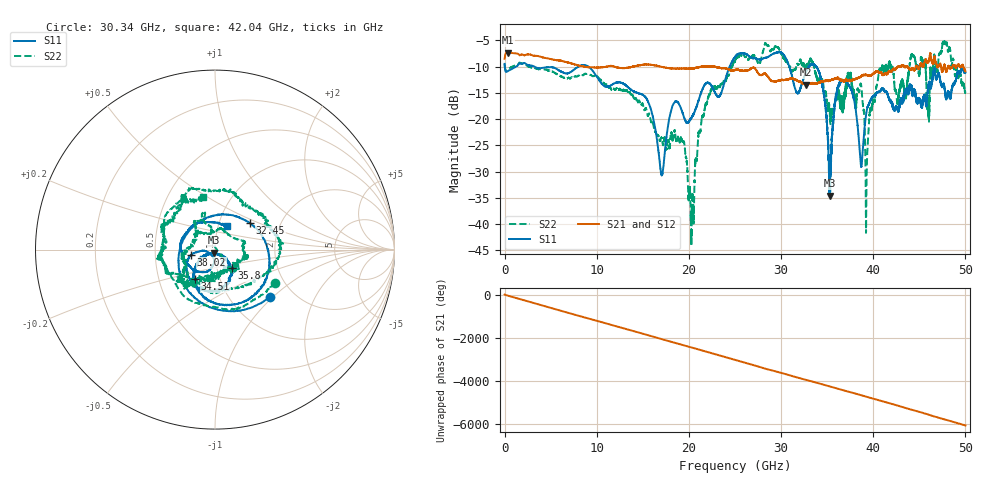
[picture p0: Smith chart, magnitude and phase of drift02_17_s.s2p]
!Created with skrf (http://scikit-rf.org).
# Hz S RI R 50.0
!freq ReS11 ImS11 ReS21 ImS21 ReS12 ImS12 ReS22 ImS22
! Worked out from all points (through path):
!   10001 points, 300 kHz to 50 GHz, reference 50 ohm
!   highest |S21| = -7.32 dB at 320.3 MHz (marker M1); lowest = -13.4 dB at 32.73 GHz (marker M2)
!   group delay of S21, straight-line fit = 335 ps
!   lowest |S11| = -34.6 dB at 35.26 GHz (marker M3), VSWR 1.04, Z = 49.2 - j1.66 ohm
!   |S11| at or under -10 dB: 3.236 GHz to 8.009 GHz (4.772 GHz wide, 84.9 % of centre); 9.105 GHz to 24.42 GHz (15.31 GHz wide, 91.3 % of centre); 33.83 GHz to end of sweep (the widest 3 of 8)
!   |S22| runs from -44.2 to -5.0 dB; largest |S21 - S12| = 0.015
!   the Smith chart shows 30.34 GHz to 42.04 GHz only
!   S11 on the Smith chart (normalised r, x): 30.34 GHz: 1.53, -0.95; 32.45 GHz: 1.41, +0.44; 34.51 GHz: 0.76, -0.26; 35.8 GHz: 1.18, -0.25; 38.02 GHz: 0.76, -0.05; 42.04 GHz: 1.10, +0.29
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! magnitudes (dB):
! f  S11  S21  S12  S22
! 300 kHz  -9.5  -8.5  -8.4  -9.5
! 320.3 MHz  -10.9  -7.3  -7.3  -10.6
! 8.335 GHz  -9.7  -9.9  -9.9  -11.6
! 16.67 GHz  -25.8  -9.9  -9.9  -23.1
! 19.32 GHz  -18.8  -10.4  -10.4  -24.3
! 20.35 GHz  -19.5  -10.4  -10.3  -34.9
! 21.93 GHz  -13.1  -9.9  -9.9  -17.1
! 25 GHz  -8.1  -10.6  -10.6  -8.9
! 30.34 GHz  -7.9  -12.5  -12.6  -8.4
! 32.45 GHz  -12.2  -13.2  -13.2  -9.2
! 32.73 GHz  -10.9  -13.4  -13.5  -9.9
! 33.34 GHz  -9.5  -13.2  -13.2  -8.9
! 34.51 GHz  -14.0  -12.8  -12.8  -12.6
! 35.26 GHz  -34.6  -12.6  -12.7  -18.3
! 35.8 GHz  -17.2  -12.3  -12.4  -17.3
! 38.02 GHz  -17.2  -12.3  -12.3  -16.5
! 38.69 GHz  -29.0  -11.8  -11.8  -13.5
! 39.31 GHz  -18.2  -11.6  -11.6  -28.7
! 41.67 GHz  -15.9  -10.9  -11.1  -9.7
! 42.04 GHz  -16.8  -10.8  -10.7  -10.5
! 47.77 GHz  -14.5  -9.8  -9.8  -5.3
! 50 GHz  -11.1  -10.9  -10.8  -14.8
